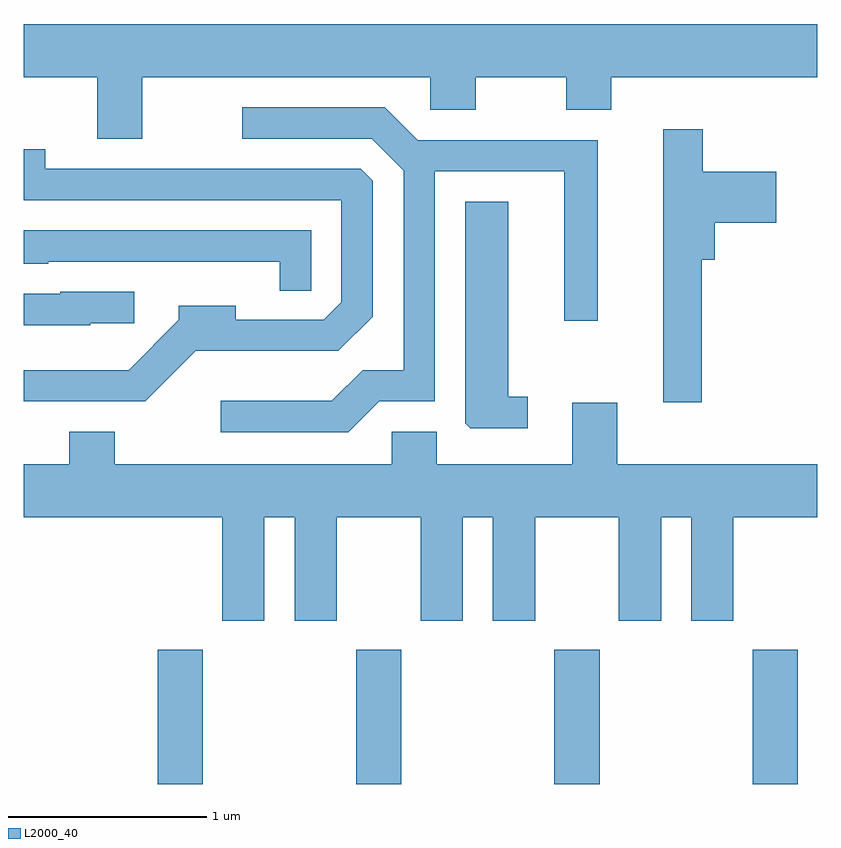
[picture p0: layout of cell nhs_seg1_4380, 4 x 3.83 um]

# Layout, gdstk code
import gdstk
lib = gdstk.Library(unit=1e-6, precision=1e-09)
def R(c, l, rs):  # rectangles x0, y0, x1, y1
    for r in rs: c.add(gdstk.rectangle(r[:2], r[2:], *l))
def A(c, l, x, y, w, h, nx, ny, dx, dy):  # array of equal rectangles
    R(c, l, [(x+i*dx, y+j*dy, x+i*dx+w, y+j*dy+h) for i in range(nx) for j in range(ny)])
def P(c, l, *ps):  # polygons
    for p in ps: c.add(gdstk.Polygon(p, *l))
L2000_40 = (2000, 40)

nhs_seg1_4380 = lib.new_cell('nhs_seg1_4380')
A(nhs_seg1_4380, L2000_40, 316.286, 973.712, 0.228, 0.677, 4, 1, 1, 0)
P(nhs_seg1_4380, L2000_40, [(316.209,977.276),(317.661,977.276),(317.661,977.111),(317.889,977.111),(317.889,977.276),(318.346,977.276),(318.346,977.111),(318.574,977.111),(318.574,977.276),(319.611,977.276),(319.611,977.544),(315.611,977.544),(315.611,977.276),(315.981,977.276),(315.981,976.966),(316.209,976.966)],
  [(317.402,975.641),(317.684,975.641),(317.684,976.801),(318.336,976.801),(318.336,976.048),(318.504,976.048),(318.504,976.959),(317.597,976.959),(317.432,977.124),(316.713,977.124),(316.713,976.966),(317.364,976.966),(317.526,976.804),(317.526,975.799),(317.319,975.799),(317.164,975.644),(316.603,975.644),(316.603,975.486),(317.247,975.486)],
  [(319.029,976.356),(319.094,976.356),(319.094,976.541),(319.404,976.541),(319.404,976.799),(319.034,976.799),(319.034,977.014),(318.836,977.014),(318.836,975.636),(319.029,975.636)],
  [(316.477,975.896),(317.197,975.896),(317.369,976.069),(317.369,976.754),(317.309,976.814),(315.719,976.814),(315.719,976.913),(315.611,976.913),(315.611,976.656),(317.211,976.656),(317.211,976.142),(317.124,976.054),(316.679,976.054),(316.679,976.124),(316.391,976.124),(316.391,976.052),(316.139,975.799),(315.611,975.799),(315.611,975.641),(316.222,975.641)],
  [(318.153,975.664),(318.054,975.664),(318.054,976.649),(317.836,976.649),(317.836,975.532),(317.862,975.506),(318.153,975.506)],
  [(317.059,976.504),(315.611,976.504),(315.611,976.336),(315.735,976.336),(315.735,976.346),(316.901,976.346),(316.901,976.198),(317.059,976.198)],
  [(315.945,976.036),(316.168,976.036),(316.168,976.194),(315.795,976.194),(315.795,976.184),(315.611,976.184),(315.611,976.026),(315.945,976.026)],
  [(316.069,975.489),(315.841,975.489),(315.841,975.324),(315.611,975.324),(315.611,975.056),(316.611,975.056),(316.611,974.536),(316.824,974.536),(316.824,975.056),(316.976,975.056),(316.976,974.536),(317.189,974.536),(317.189,975.056),(317.611,975.056),(317.611,974.536),(317.824,974.536),(317.824,975.056),(317.976,975.056),(317.976,974.536),(318.189,974.536),(318.189,975.056),(318.611,975.056),(318.611,974.536),(318.824,974.536),(318.824,975.056),(318.976,975.056),(318.976,974.536),(319.189,974.536),(319.189,975.056),(319.611,975.056),(319.611,975.324),(318.604,975.324),(318.604,975.634),(318.376,975.634),(318.376,975.324),(317.694,975.324),(317.694,975.489),(317.466,975.489),(317.466,975.324),(316.069,975.324)])

lib.write_gds('nhs_seg1_4380.gds')
